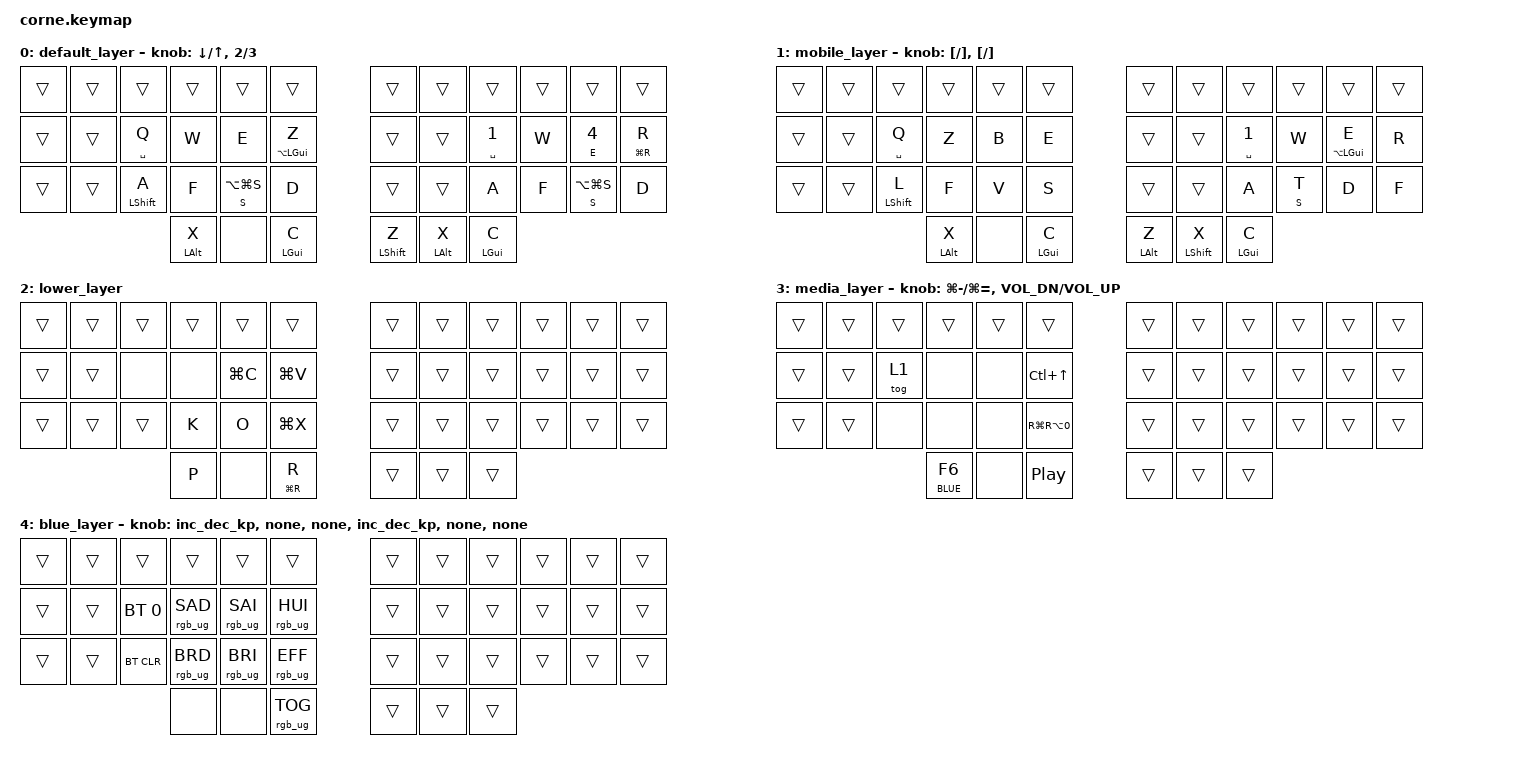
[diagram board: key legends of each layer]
/*
 * Copyright (c) 2020 The ZMK Contributors
 *
 * SPDX-License-Identifier: MIT
 */

#include <dt-bindings/zmk/rgb.h>
#include <dt-bindings/led/led.h>
#include <behaviors.dtsi>
#include <dt-bindings/zmk/keys.h>
#include <dt-bindings/zmk/bt.h>
#include <dt-bindings/zmk/outputs.h>


#define DEFAULT 0
#define MOBILE  1
#define LOWER   2
#define MEDIA   3
#define BLUE    4

//  &left_encoder   { resolution = <2>; };
//  &left1_encoder  { resolution = <2>; };
//  &right_encoder  { resolution = <1>; };

#include <dt-bindings/led/led.h>

&spi1 {
        compatible = "nordic,nrf-spim";
        /* Cannot be used together with i2c0. */
        status = "okay";
        mosi-pin = <6>;
        // Unused pins, needed for SPI definition, but not used by the ws2812 driver itself.
        sck-pin = <5>;
        miso-pin = <7>;

        led_strip: ws2812@0 {
                compatible = "worldsemi,ws2812-spi";
                label = "SK6812mini";

                /* SPI */
                reg = <0>; /* ignored, but necessary for SPI bindings */
                spi-max-frequency = <4000000>;

                /* WS2812 */
                chain-length = <7>; /* There are per-key RGB, but the first 6 are underglow */
                spi-one-frame = <0x70>;
                spi-zero-frame = <0x40>;

                color-mapping = <LED_COLOR_ID_GREEN LED_COLOR_ID_RED LED_COLOR_ID_BLUE>;
        };
};

/ {
        chosen {
                zmk,underglow = &led_strip;
        };
};

&mt {
    tapping-term-ms = <129>;
};

&lt {
    tapping-term-ms = <129>;
};


/ {
        combos {
                compatible = "zmk,combos";
                combo_lower {
                        timeout-ms = <50>;
                        key-positions = <14 15>;
                        bindings = <&mo 2>;
                };
                
                combo_media {
                        timeout-ms = <100>;
                        key-positions = <26 27>;
                        bindings = <&mo 3>;
                };
        };
};

/ {

    top_encoder: encoder_top {
                compatible = "alps,ec11";
                label = "TOP_ENCODER";
                a-gpios = <&pro_micro_d 16 (GPIO_ACTIVE_HIGH | GPIO_PULL_UP)>;
                b-gpios = <&pro_micro_d 10 (GPIO_ACTIVE_HIGH | GPIO_PULL_UP)>;
                resolution = <2>;
                status = "okay";
        };

    bottom_encoder: encoder_bottom {
                compatible = "alps,ec11";
                label = "BOTTOM_ENCODER";
                a-gpios = <&pro_micro_d 8 (GPIO_ACTIVE_HIGH | GPIO_PULL_UP)>;
                b-gpios = <&pro_micro_d 9 (GPIO_ACTIVE_HIGH | GPIO_PULL_UP)>;
                resolution = <2>;
                status = "okay";
        };

        sensors {
                    compatible = "zmk,keymap-sensors";
                    sensors = <&top_encoder &bottom_encoder>;
        };
};

        // TODO: per-key RGB node(s)?



/ {   
        behaviors {
        mtt: mod_tap_tap {
                compatible = "zmk,behavior-hold-tap";
                label = "MOD_TAP_TAP";
                #binding-cells = <2>;
                tapping-term-ms = <250>;
                quick-tap-ms = <100>;
                flavor = "tap-preferred";
                bindings = <&kp>, <&kp>;
              };
        mtt2: mod_tap_tap {
                compatible = "zmk,behavior-hold-tap";
                label = "MOD_TAP_TAP";
                #binding-cells = <2>;
                flavor = "tap-preferred"; //was hold-preferred
                tapping-term-ms = <230>;
                quick-tap-ms = <100>;
                bindings = <&kp>, <&kp>;
              };  
        };
};        

/ {
keymap {
                compatible = "zmk,keymap";

                default_layer {
                        bindings = <
   &trans &trans &trans &trans &trans &trans                                                     &trans &trans &trans &trans &trans &trans             
   &trans &trans &mt SPACE Q &kp W &kp E &mt LA(LGUI) Z                                        &trans &trans &mt SPACE N1 &kp W &mt E N4 &mtt LG(R) R
   &trans &trans &mt LSHFT A &kp F &mt S LA(LG(S)) &kp D                                               &trans &trans &kp A &kp F &mt S LA(LG(S)) &kp D       
                 &mt LALT X &none &mt LGUI C                                                             &mt LSHFT Z &mt LALT X &mt LGUI C       
                        >; 
                        
   sensor-bindings = <&inc_dec_kp DOWN UP &inc_dec_kp N2 N3>;
                };
      
                mobile_layer {
                        bindings = <
   &trans &trans &trans &trans &trans &trans                                              &trans &trans &trans &trans &trans &trans            
   &trans &trans &mt SPACE Q &kp Z &kp B &kp E                                   &trans &trans &mt SPACE N1 &kp W &mt LA(LGUI) E &kp R
   &trans &trans &mt LSHFT L &kp F &kp V &kp S                                                &trans &trans &kp A &mt S T &kp D &kp F              
                 &mt LALT X &none &mt LGUI C                                                     &mt LALT Z &mt LSHFT X &mt LGUI C      
                        >;
                        
   sensor-bindings = <&inc_dec_kp LBKT RBKT &inc_dec_kp LBKT RBKT>;
                };
      
                lower_layer {
                        bindings = <
   &trans &trans &trans &trans &trans &trans                                                     &trans &trans &trans &trans &trans &trans
   &trans &trans &none &none &kp LG(C) &kp LG(V)                                                &trans &trans &trans &trans &trans &trans
   &trans &trans &trans &kp K &kp O &kp LG(X)                                                   &trans &trans &trans &trans &trans &trans
                 &kp P &none &mtt LG(R) R                                                     &trans &trans &trans
                        >;
   
   sensor-bindings = <&inc_dec_kp LG(G) LS(G) &inc_dec_kp LG(Z) LS(LG(Z)>;
                };

                media_layer {
                        bindings = <
   &trans &trans &trans &trans &trans &trans                                                     &trans &trans &trans &trans &trans &trans
   &trans &trans &tog 1 &none &none &kp LC(UP_ARROW)                                          &trans &trans &trans &trans &trans &trans
   &trans &trans &none &none &none &kp RG(RA(N0))                                                        &trans &trans &trans &trans &trans &trans
                 &lt BLUE F6 &none &kp C_PLAY_PAUSE                                        &trans &trans &trans
                        >;
   
   sensor-bindings = <&inc_dec_kp LG(MINUS) LG(EQUAL) &inc_dec_kp C_VOL_DN C_VOL_UP>;
                };
                
                blue_layer {
                        bindings = <
   &trans &trans &trans &trans &trans &trans                                                     &trans &trans &trans &trans &trans &trans
   &trans &trans &bt BT_SEL 0 &rgb_ug RGB_SAD &rgb_ug RGB_SAI &rgb_ug RGB_HUI                            &trans &trans &trans &trans &trans &trans
   &trans &trans &bt BT_CLR &rgb_ug RGB_BRD &rgb_ug RGB_BRI &rgb_ug RGB_EFF                             &trans &trans &trans &trans &trans &trans
                 &none &none &rgb_ug RGB_TOG                                     &trans &trans &trans
                        >;
                        
   sensor-bindings = <&inc_dec_kp &none &none &inc_dec_kp &none &none>;  
                };
            
        };
};


// &mmv {    
       // time-to-max-speed-ms = <500>;
       // acceleration-exponent=<1>;
// };
// &mwh {    
       // time-to-max-speed-ms = <2000>;
       // acceleration-exponent=<0>;
// }; 

// / {
       // behaviors {
               // mtt: mod_tap_tap {
                       // compatible = "zmk,behavior-hold-tap";
                       // label = "MOD_TAP_TAP";
                       // #binding-cells = <2>;
                       // flavor = "tap-preferred"; //was hold-preferred
                       // tapping-term-ms = <150>;
                       // quick-tap-ms = <200>;
                       // bindings = <&kp>, <&kp>;
               // };
               // ltt: layer_tap_tap {
                       // compatible = "zmk,behavior-hold-tap";
                       // label = "LAYER_TAP_TAP";
                       // #binding-cells = <2>;
                       // flavor = "hold-preferred"; 
                       // tapping-term-ms = <400>;
                       // quick-tap-ms = <200>;
                       // bindings = <&mo>, <&kp>;
               // };                
       // };



// / {
    //behaviors {
         //C_F: tap_dance_0 {
      //compatible = "zmk,behavior-tap-dance";
      //label = "C_F";
      //#binding-cells = <0>;
      //tapping-term-ms = <200>;
      //bindings = <&mt LSHFT C>, <&kp F>;
        //};
    //};

    //keymap {
        //compatible = "zmk,keymap";

        //default_layer {
            //bindings = <
                //&td_mt
            //>;
        //};
    //};
//};


// And label the key &C_F 
